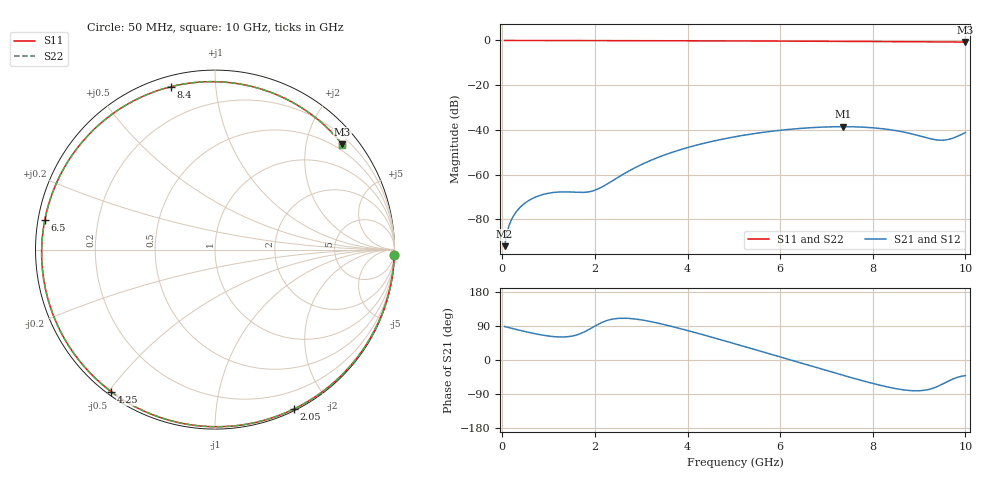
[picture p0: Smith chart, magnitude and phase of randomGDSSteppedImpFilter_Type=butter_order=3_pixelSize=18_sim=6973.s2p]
! freq	dB(S11)	phase(S11)	dB(S12)	phase(S12)
!  dB(S21)	phase(S21)	dB(S22)	phase(S22)
!S-par simulation data
#  GHz  S  DB  R 50
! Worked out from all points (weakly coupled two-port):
!   200 points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, 50 MHz to 10 GHz, reference 50 ohm
!   highest |S21| = -38.56 dB at 7.35 GHz (marker M1); lowest = -92.0 dB at 50 MHz (marker M2)
!   lowest |S11| = -0.7 dB at 10 GHz (marker M3), VSWR 23.97, Z = 17.9 + j137 ohm
!   |S11| at or under -10 dB: nowhere
!   |S22| runs from -0.7 to 0.0 dB; largest |S21 - S12| = 0
!   S11 on the Smith chart (normalised r, x): 50 MHz: 2, -71; 2.05 GHz: 0.02, -1.61; 4.25 GHz: 0.01, -0.51; 6.5 GHz: 0.02, +0.09; 8.4 GHz: 0.05, +0.76; 10 GHz: 0.36, +2.73
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0.05  -0.01 -1.6  -91.99 88.4  -91.99 88.4  -0.01 -1.6
0.2  -0.01 -6.4  -80.05 83.7  -80.05 83.7  -0.01 -6.4
0.3  -0.01 -9.6  -76.65 80.7  -76.65 80.7  -0.01 -9.6
0.45  -0.02 -14.4  -73.37 76.3  -73.37 76.3  -0.02 -14.4
0.8  -0.03 -25.4  -69.38 67.1  -69.38 67.1  -0.03 -25.4
1.2  -0.05 -37.9  -67.79 60.9  -67.79 60.9  -0.05 -37.9
1.75  -0.07 -54.7  -67.94 72.9  -67.94 72.9  -0.07 -54.7
2.05  -0.08 -63.7  -66.56 92.9  -66.56 92.9  -0.08 -63.7
2.7  -0.10 -82.7  -58.76 110.0  -58.76 110.0  -0.10 -82.7
3.4  -0.13 -102.6  -52.00 96.2  -52.00 96.2  -0.13 -102.6
4.25  -0.17 -126.1  -46.51 69.5  -46.51 69.5  -0.17 -126.2
5.05  -0.22 -148.1  -42.97 41.9  -42.97 41.9  -0.22 -148.2
5.8  -0.27 -169.3  -40.65 15.2  -40.65 15.2  -0.27 -169.4
6.5  -0.33 170.0  -39.24 -9.9  -39.24 -9.9  -0.33 169.9
6.7  -0.35 163.9  -38.97 -17.1  -38.97 -17.1  -0.35 163.7
7.35  -0.42 142.9  -38.56 -40.1  -38.56 -40.1  -0.42 142.7
8.35  -0.53 107.0  -39.84 -72.0  -39.84 -72.0  -0.53 106.9
8.4  -0.53 105.1  -39.99 -73.2  -39.99 -73.2  -0.53 105.0
8.95  -0.60 83.4  -42.34 -81.3  -42.34 -81.3  -0.60 83.3
9.45  -0.66 62.8  -44.60 -66.9  -44.60 -66.9  -0.66 62.6
9.7  -0.69 52.3  -43.89 -51.7  -43.89 -51.7  -0.69 52.1
10  -0.73 39.6  -41.19 -41.2  -41.19 -41.2  -0.72 39.5
